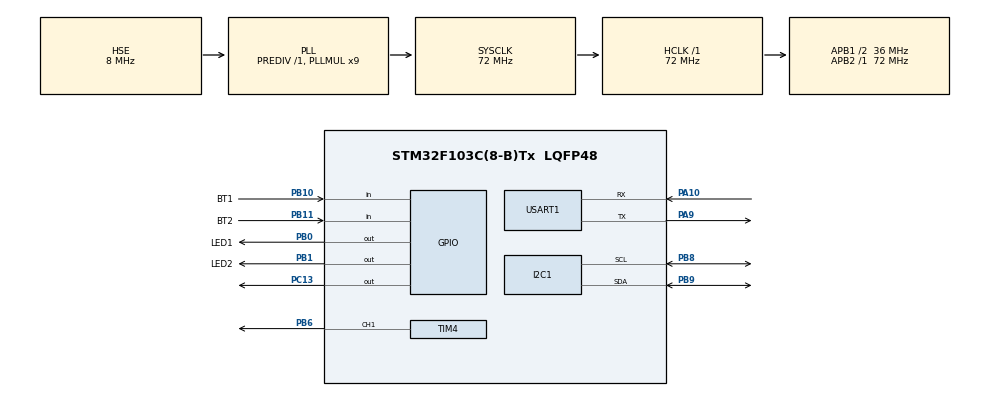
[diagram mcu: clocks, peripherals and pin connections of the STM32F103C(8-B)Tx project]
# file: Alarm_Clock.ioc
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Mcu.Family=STM32F1
Mcu.Name=STM32F103C(8-B)Tx
Mcu.Package=LQFP48
NVIC.PriorityGroup=NVIC_PRIORITYGROUP_4
NVIC.RTC_Alarm_IRQn=true\:0\:0\:false\:false\:true\:true
NVIC.RTC_IRQn=true\:0\:0\:false\:false\:true\:true
PA10.Mode=Asynchronous
PA10.Signal=USART1_RX
PA13.Mode=Serial_Wire
PA13.Signal=SYS_JTMS-SWDIO
PA14.Mode=Serial_Wire
PA14.Signal=SYS_JTCK-SWCLK
PA9.Mode=Asynchronous
PA9.Signal=USART1_TX
PB0.GPIO_Label=LED1
PB0.GPIO_Speed=GPIO_SPEED_FREQ_HIGH
PB0.Signal=GPIO_Output
PB1.GPIO_Label=LED2
PB1.GPIO_Speed=GPIO_SPEED_FREQ_HIGH
PB1.Signal=GPIO_Output
PB10.GPIO_Label=BT1
PB10.GPIO_PuPd=GPIO_PULLDOWN
PB10.Signal=GPIO_Input
PB11.GPIO_Label=BT2
PB11.GPIO_PuPd=GPIO_PULLDOWN
PB11.Signal=GPIO_Input
PB6.Signal=S_TIM4_CH1
PB8.Mode=I2C
PB8.Signal=I2C1_SCL
PB9.Mode=I2C
PB9.Signal=I2C1_SDA
PC13-TAMPER-RTC.Signal=GPIO_Output
PD0-OSC_IN.Mode=HSE-External-Oscillator
PD0-OSC_IN.Signal=RCC_OSC_IN
PD1-OSC_OUT.Mode=HSE-External-Oscillator
PD1-OSC_OUT.Signal=RCC_OSC_OUT
ProjectManager.HeapSize=0x200
ProjectManager.StackSize=0x400
ProjectManager.TargetToolchain=MDK-ARM V5
RCC.AHBFreq_Value=72000000
RCC.APB1CLKDivider=RCC_HCLK_DIV2
RCC.APB1Freq_Value=36000000
RCC.APB1TimFreq_Value=72000000
RCC.APB2Freq_Value=72000000
RCC.APB2TimFreq_Value=72000000
RCC.HCLKFreq_Value=72000000
RCC.PLLMUL=RCC_PLL_MUL9
RCC.PLLSourceVirtual=RCC_PLLSOURCE_HSE
RCC.SYSCLKFreq_VALUE=72000000
RCC.SYSCLKSource=RCC_SYSCLKSOURCE_PLLCLK
RCC.USBFreq_Value=72000000
SH.S_TIM4_CH1.0=TIM4_CH1,PWM Generation1 CH1
TIM4.Channel-PWM\ Generation1\ CH1=TIM_CHANNEL_1
USART1.VirtualMode=VM_ASYNC
VP_RTC_No_RTC_Output.Mode=RTC_OUT_NO
VP_RTC_VS_RTC_Activate.Mode=RTC_Enabled
VP_RTC_VS_RTC_Calendar.Mode=RTC_Calendar
board=ALARM_CLOCK_2

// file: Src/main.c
/**
  ******************************************************************************
  * File Name          : main.c
  * Description        : Main program body
  ******************************************************************************
  ** This notice applies to any and all portions of this file
  * that are not between comment pairs USER CODE BEGIN and
  * USER CODE END. Other portions of this file, whether
  * inserted by the user or by software development tools
  * are owned by their respective copyright owners.
  *
  * COPYRIGHT(c) 2018 STMicroelectronics
  *
  * Redistribution and use in source and binary forms, with or without modification,
  * are permitted provided that the following conditions are met:
  *   1. Redistributions of source code must retain the above copyright notice,
  *      this list of conditions and the following disclaimer.
  *   2. Redistributions in binary form must reproduce the above copyright notice,
  *      this list of conditions and the following disclaimer in the documentation
  *      and/or other materials provided with the distribution.
  *   3. Neither the name of STMicroelectronics nor the names of its contributors
  *      may be used to endorse or promote products derived from this software
  *      without specific prior written permission.
  *
  * THIS SOFTWARE IS PROVIDED BY THE COPYRIGHT HOLDERS AND CONTRIBUTORS "AS IS"
  * AND ANY EXPRESS OR IMPLIED WARRANTIES, INCLUDING, BUT NOT LIMITED TO, THE
  * IMPLIED WARRANTIES OF MERCHANTABILITY AND FITNESS FOR A PARTICULAR PURPOSE ARE
  * DISCLAIMED. IN NO EVENT SHALL THE COPYRIGHT HOLDER OR CONTRIBUTORS BE LIABLE
  * FOR ANY DIRECT, INDIRECT, INCIDENTAL, SPECIAL, EXEMPLARY, OR CONSEQUENTIAL
  * DAMAGES (INCLUDING, BUT NOT LIMITED TO, PROCUREMENT OF SUBSTITUTE GOODS OR
  * SERVICES; LOSS OF USE, DATA, OR PROFITS; OR BUSINESS INTERRUPTION) HOWEVER
  * CAUSED AND ON ANY THEORY OF LIABILITY, WHETHER IN CONTRACT, STRICT LIABILITY,
  * OR TORT (INCLUDING NEGLIGENCE OR OTHERWISE) ARISING IN ANY WAY OUT OF THE USE
  * OF THIS SOFTWARE, EVEN IF ADVISED OF THE POSSIBILITY OF SUCH DAMAGE.
  *
  ******************************************************************************
  */

#include "main.h"
#include "stm32f1xx_hal.h"

/* USER CODE BEGIN Includes */
#include <stdio.h>
#include <ctype.h>
#include <stdlib.h>
#include <stdbool.h>

#include "queue.h"
#include "keypad.h"
#include "ssd1306.h"
/* USER CODE END Includes */

I2C_HandleTypeDef hi2c1;

RTC_HandleTypeDef hrtc;

TIM_HandleTypeDef htim4;

UART_HandleTypeDef huart1;

/* USER CODE BEGIN PV */
/* Private variables ---------------------------------------------------------*/
RTC_TimeTypeDef ALARM_TIME;

bool Alarm_State = false;
bool Setting_Session = false;
bool Alarm_Session = false;
bool Time_Session = false;

uint8_t password_1 = 0;
uint8_t password_2 = 0;
/* USER CODE END PV */

void SystemClock_Config(void);
static void MX_GPIO_Init(void);
static void MX_I2C1_Init(void);
static void MX_USART1_UART_Init(void);
static void MX_RTC_Init(void);
static void MX_TIM4_Init(void);

void HAL_TIM_MspPostInit(TIM_HandleTypeDef *htim);

/* USER CODE BEGIN PFP */
/* Private function prototypes -----------------------------------------------*/

/* USER CODE END PFP */

/* USER CODE BEGIN 0 */
void GPIO_SetPin(GPIO_TypeDef *GPIOx, uint16_t GPIO_Pin){
	HAL_GPIO_WritePin(GPIOx, GPIO_Pin, GPIO_PIN_SET);
}

void GPIO_ResetPin(GPIO_TypeDef *GPIOx, uint16_t GPIO_Pin){
	HAL_GPIO_WritePin(GPIOx, GPIO_Pin, GPIO_PIN_RESET);
}

void Set_Number(uint8_t num, uint8_t dig){
	switch(dig){
		case 1:
			SSD1306_SetCursor(0, 24);
			SSD1306_WriteChar(num + '0', Font_16x32, White);

			SSD1306_UpdateScreen();
			break;
		case 2:
			SSD1306_SetCursor(16, 24);
			SSD1306_WriteChar(num + '0', Font_16x32, White);

			SSD1306_UpdateScreen();
			break;
		case 3:
			SSD1306_SetCursor(48, 24);
			SSD1306_WriteChar(num + '0', Font_16x32, White);

			SSD1306_UpdateScreen();
			break;
		case 4:
			SSD1306_SetCursor(64, 24);
			SSD1306_WriteChar(num + '0', Font_16x32, White);

			SSD1306_UpdateScreen();
			break;
	}
}

void Set_Minutes(uint8_t min){
	uint8_t quotient = min / 10;
	uint8_t remain = min % 10;

	Set_Number(quotient, 3);
	HAL_Delay(1);
	Set_Number(remain, 4);
	HAL_Delay(1);
}

void Set_Hours(uint8_t hou){
	uint8_t quotient = hou / 10;
	uint8_t remain = hou % 10;

	Set_Number(quotient, 1);
	HAL_Delay(1);
	Set_Number(remain, 2);
	HAL_Delay(1);
}

void Set_Colon(void){
	SSD1306_SetCursor(32, 24);
	SSD1306_WriteChar(':', Font_16x32, White);

	SSD1306_UpdateScreen();
}

static void RTC_AlarmConfig(uint8_t Hours, uint8_t Minutes)
{
	RTC_AlarmTypeDef salarmstructure;

  /*##-3- Configure the RTC Alarm peripheral #################################*/
  /* Set Alarm to 02:20:30
     RTC Alarm Generation: Alarm on Hours, Minutes and Seconds */
	salarmstructure.Alarm = RTC_ALARM_A;
	salarmstructure.AlarmTime.Hours = Hours;
	salarmstructure.AlarmTime.Minutes = Minutes;
	salarmstructure.AlarmTime.Seconds = 0;

	if(HAL_RTC_SetAlarm_IT(&hrtc,&salarmstructure,RTC_FORMAT_BIN) != HAL_OK)
	{
		/* Initialization Error */
		_Error_Handler(__FILE__, __LINE__);
	}
}

/**
  * @brief  Alarm callback
  * @param  hrtc : RTC handle
  * @retval None
  */
void HAL_RTC_AlarmAEventCallback(RTC_HandleTypeDef *hrtc)
{
  /* Turn LED_GREEN on: Alarm generation */
  //BSP_LED_On(LED_GREEN);
	RTC_TimeTypeDef now_time;

	Alarm_State = true;

	GPIO_SetPin(GPIOC, GPIO_PIN_13);											// Alarm LED ON

	int random = rand() % 10000;

	password_1 = random / 100;
	password_2 = random % 100;

	/* Get the RTC current Time */
	HAL_RTC_GetTime(hrtc, &now_time, RTC_FORMAT_BIN);

	ALARM_TIME.Hours = now_time.Hours;
	ALARM_TIME.Minutes = now_time.Minutes;
}

int fputc(int ch, FILE *f){
  uint8_t temp[1] = {ch};
  HAL_UART_Transmit(&huart1, temp, 1, 2);
  return ch;
}
/* USER CODE END 0 */

int main(void)
{

  /* USER CODE BEGIN 1 */
	RTC_TimeTypeDef time_instructure;
  /* USER CODE END 1 */

  /* MCU Configuration----------------------------------------------------------*/

  /* Reset of all peripherals, Initializes the Flash interface and the Systick. */
  HAL_Init();

  /* Configure the system clock */
  SystemClock_Config();

  /* Initialize all configured peripherals */
  MX_GPIO_Init();
  MX_I2C1_Init();
  MX_USART1_UART_Init();
  MX_RTC_Init();
  MX_TIM4_Init();

  /* USER CODE BEGIN 2 */
	Keypad_Init();																								// Init Keypad

	SSD1306_Init();																								// Init SSD1306

	SSD1306_Fill(Black);																					// Fill Background of Display by Black
	SSD1306_UpdateScreen();																				// Refresh Display

	init_queue();																									// Init Queue

	uint8_t old_Seconds = 0;

	uint8_t set_hour = 0;																					// Hour Parameter
	uint8_t set_minu = 0;																					// Minute Parameter
  /* USER CODE END 2 */

  /* Infinite loop */
  /* USER CODE BEGIN WHILE */
  while (1)
  {
	  Set_Colon();																								// Display Colon

		/* Get the RTC current Time */
		HAL_RTC_GetTime(&hrtc, &time_instructure, RTC_FORMAT_BIN);

		// 1 Second
		if(old_Seconds != time_instructure.Seconds){
			old_Seconds = time_instructure.Seconds;
			printf("%02d:%02d:%02d\r\n", time_instructure.Hours, time_instructure.Minutes, old_Seconds);
		}

		// Setting Session Button Input Pull Down
		if(HAL_GPIO_ReadPin(BT1_GPIO_Port, BT1_Pin) && !HAL_GPIO_ReadPin(BT2_GPIO_Port, BT2_Pin)){
			while(HAL_GPIO_ReadPin(BT1_GPIO_Port, BT1_Pin) && !HAL_GPIO_ReadPin(BT2_GPIO_Port, BT2_Pin));					// Release Button1

			if(Setting_Session == false){															// If Current State wasn't Setting Session
				printf("Set Button 1\r\n");

				SSD1306_SetCursor(32, 0);
				SSD1306_WriteString("Setting", Font_7x10, White);				// Display "Setting"

				SSD1306_UpdateScreen();																	// Refresh Display

				GPIO_SetPin(LED1_GPIO_Port, LED1_Pin);	 								// LED1 ON
				GPIO_ResetPin(LED2_GPIO_Port, LED2_Pin);								// LED2 OFF

				Setting_Session = true;																	// Enter Setting Session
				Alarm_Session = false;																	// Not a Alarm Session
			}

			else if(Setting_Session == true){													// If Current State was Setting Session
				printf("Set Button 0\r\n");

				SSD1306_SetCursor(32, 0);
				SSD1306_WriteString("       ", Font_7x10, White);				// Clear Diplay Line

				SSD1306_UpdateScreen();																	// Refresh Display

				GPIO_ResetPin(LED1_GPIO_Port, LED1_Pin);								// LED1 OFF
				GPIO_ResetPin(LED2_GPIO_Port, LED2_Pin);								// LED2 OFF

				Setting_Session = false;																// Leave Setting Session
				Alarm_Session = false;																	// Not a Alarm Session
			}
		}

		// Alarm Session Button Input Pull Down
		if(!HAL_GPIO_ReadPin(BT1_GPIO_Port, BT1_Pin) && HAL_GPIO_ReadPin(BT2_GPIO_Port, BT2_Pin)){
			while(!HAL_GPIO_ReadPin(BT1_GPIO_Port, BT1_Pin) && HAL_GPIO_ReadPin(BT2_GPIO_Port, BT2_Pin));					// Release Button2

			if(Alarm_Session == false){																// If Current State wasn't Alarm Session
				printf("Set Button 1\r\n");

				SSD1306_SetCursor(32, 0);
				SSD1306_WriteString("Password", Font_7x10, White);			// Display "Password"

				SSD1306_UpdateScreen();																	// Refresh Display

				GPIO_ResetPin(LED1_GPIO_Port, LED1_Pin);								// LED1 OFF
				GPIO_SetPin(LED2_GPIO_Port, LED2_Pin);									// LED2 ON

				Alarm_Session = true;																		// Enter Alarm Session
				Setting_Session = false;																// Not a Setting Session
			}

			else if(Alarm_Session == true){														// If Current State was Alarm Session
				printf("Set Button 0\r\n");

				GPIO_ResetPin(LED1_GPIO_Port, LED1_Pin);								// LED1 OFF
				GPIO_SetPin(LED2_GPIO_Port, LED2_Pin);									// LED2 ON

				SSD1306_SetCursor(32, 0);
				SSD1306_WriteString("        ", Font_7x10, White);			// Clear Diplay Line

				SSD1306_UpdateScreen();																	// Refresh Display

				Alarm_Session = false;																	// Leave Alarm Session
				Setting_Session = false;																// Not a Setting Session
			}
		}

		//
		if(HAL_GPIO_ReadPin(BT1_GPIO_Port, BT1_Pin) && HAL_GPIO_ReadPin(BT2_GPIO_Port, BT2_Pin)){
			while(HAL_GPIO_ReadPin(BT1_GPIO_Port, BT1_Pin) && HAL_GPIO_ReadPin(BT2_GPIO_Port, BT2_Pin));

			if(Time_Session == false){
				SSD1306_SetCursor(32, 0);
				SSD1306_WriteString("Time Setting", Font_7x10, White);	// Display "Time Setting"

				SSD1306_UpdateScreen();																	// Refresh Display

				// Get Total Data What Inside Of Queue And Put '0'
				for(int i = 0; i < 4; i ++){
					get();																								// Pop
					put('0');																							// Push
				}

				Time_Session = true;																		//
				Alarm_Session = false;																	// Leave Alarm Session
				Setting_Session = false;																// Not a Setting Session
			}
			else if(Time_Session == true){
				SSD1306_SetCursor(32, 0);
				SSD1306_WriteString("            ", Font_7x10, White);			// Clear Diplay Line

				SSD1306_UpdateScreen();																	// Refresh Display

				Time_Session = false;																		//
				Alarm_Session = false;																	// Leave Alarm Session
				Setting_Session = false;																// Not a Setting Session
			}
		}

		// Common Clock State
		if(!Setting_Session && !Alarm_State){
			//printf("Set Time\r\n");
			Set_Minutes(time_instructure.Minutes);										// Set Present Minutes
			Set_Hours(time_instructure.Hours);												// Set Present Hours
		}

		// Alarm Session. Will Display Password
		else if(Alarm_State){
			SSD1306_SetCursor(32, 0);
			SSD1306_WriteString("Alarm", Font_7x10, White);						// Display "Alarm"

			SSD1306_UpdateScreen();																		// Refresh Display

			Set_Hours(password_1);																		// Set Password_1
			Set_Minutes(password_2);																	// Set Password_2
		}

		// If Setting Session
		if(Setting_Session && !Alarm_State){
			// Setting Session
			//printf("Setting Session IN\r\n");

			// Display Number
			Set_Minutes(set_minu);																		// Set Present Minutes
			Set_Hours(set_hour);																			// Set Present Hours

			// Read Input By Keypad
			char Key = GetKey();

			if(isdigit(Key)){																					// If Input Number by Keypad
					get();																								// Pop
					put(Key);																							// Push

					print_queue();																				// Print Queue
			}

			// Reset Number to 00:00
			if(Key == '*'){

				// Get Total Data What Inside Of Queue And Put '0'
				for(int i = 0; i < 4; i ++){
					get();																								// Pop
					put('0');																							// Push
				}

				// Reset Setting Value
				set_minu = 0;
				set_hour = 0;

				print_queue();																					// Print Queue
			}

			// Set Alarm Time And Come Back To Clock
			if(Key == '#'){
				// Setting Alarm
				RTC_AlarmConfig(set_hour, set_minu);

				printf("Alarm A Set in %02d:%02d\r\n", set_hour, set_minu);

				// Get Total Data What Inside Of Queue And Put '0'
				for(int i = 0; i < 4; i ++){
					get();																								// Pop
					put('0');																							// Push
				}

				// Reset Setting Value
				set_minu = 0;
				set_hour = 0;

				print_queue();																					// Print Queue

				GPIO_ResetPin(LED1_GPIO_Port, LED1_Pin);								// LED1 OFF
				GPIO_ResetPin(LED2_GPIO_Port, LED2_Pin);								// LED2 OFF

				SSD1306_SetCursor(32, 0);
				SSD1306_WriteString("        ", Font_7x10, White);			// Clear Diplay Line

				SSD1306_UpdateScreen();																	// Refresh Display

				Setting_Session = false;																// Leave Setting Session
			}
			// Change Display Number
			else {
				// ex) Queue [ 0 | 5 | 3 | 0 ] means 05:30 => set_hour = 05, set_minu = 30
				set_hour = ((get_queue()[0] - '0') * 10) + (get_queue()[1] - '0');
				set_minu = ((get_queue()[2] - '0') * 10) + (get_queue()[3] - '0');
			}
		}

		// When Alarm Callback Event On And Enter the Alarm Session
		if(Alarm_Session && Alarm_State){
			// Alarm Session
			//printf("Alarm Session IN\r\n");

			// Read Input By Keypad
			char Key = GetKey();

			if(isdigit(Key)){																					// If Input Number by Keypad
					get();																								// Pop
					put(Key);																							// Push

					print_queue();																				// Print Queue
			}

			// If Password Correct
			if(password_1 == ( ((get_queue()[0] - '0') * 10) + (get_queue()[1] - '0') )
				&& password_2 == ( ((get_queue()[2] - '0') * 10) + (get_queue()[3] - '0') )){
				// Alarm Off : All Led Off
				GPIO_ResetPin(GPIOC, GPIO_PIN_13);											// Alarm LED OFF

				// Get Total Data What Inside Of Queue And Put '0'
				for(int i = 0; i < 4; i ++){
					get();																								// Pop
					put('0');																							// Push
				}

				print_queue();																					// Print Queue

				SSD1306_SetCursor(32, 0);
				SSD1306_WriteString("        ", Font_7x10, White);			// Clear Diplay Line

				SSD1306_UpdateScreen();																	// Refresh Display

				Alarm_State = false;																		// Alarm Off
				Alarm_Session = false;																	// Leave Alarm Session
			}
		}

		if(Time_Session){
			char Key = GetKey();

			if(isdigit(Key)){																					// If Input Number by Keypad
					get();																								// Pop
					put(Key);																							// Push

					print_queue();																				// Print Queue
			}

			// Reset Number to 00:00
			if(Key == '*'){

				// Get Total Data What Inside Of Queue And Put '0'
				for(int i = 0; i < 4; i ++){
					get();																								// Pop
					put('0');																							// Push
				}

				// Reset Setting Value
				set_minu = 0;
				set_hour = 0;

				print_queue();																					// Print Queue
			}

			// Set Alarm Time And Come Back To Clock
			if(Key == '#'){
				// Setting Time
				RTC_TimeTypeDef set_time_instructure;

				time_instructure.Hours = set_hour;
				time_instructure.Minutes = set_minu;
				time_instructure.Seconds = 0;

				HAL_RTC_SetTime(&hrtc, &time_instructure, RTC_FORMAT_BIN);

				printf("Time Set in %02d:%02d\r\n", set_hour, set_minu);

				// Get Total Data What Inside Of Queue And Put '0'
				for(int i = 0; i < 4; i ++){
					get();																								// Pop
					put('0');																							// Push
				}

				// Reset Setting Value
				set_minu = 0;
				set_hour = 0;

				print_queue();																					// Print Queue

				GPIO_ResetPin(LED1_GPIO_Port, LED1_Pin);								// LED1 OFF
				GPIO_ResetPin(LED2_GPIO_Port, LED2_Pin);								// LED2 OFF

				SSD1306_SetCursor(32, 0);
				SSD1306_WriteString("            ", Font_7x10, White);	// Clear Diplay Line

				SSD1306_UpdateScreen();																	// Refresh Display

				Time_Session = false;																// Leave Setting Session
			}
			// Change Display Number
			else {
				// ex) Queue [ 0 | 5 | 3 | 0 ] means 05:30 => set_hour = 05, set_minu = 30
				set_hour = ((get_queue()[0] - '0') * 10) + (get_queue()[1] - '0');
				set_minu = ((get_queue()[2] - '0') * 10) + (get_queue()[3] - '0');
			}
		}
  /* USER CODE END WHILE */

  }

}

/** System Clock Configuration
*/
void SystemClock_Config(void)
{

  RCC_OscInitTypeDef RCC_OscInitStruct;
  RCC_ClkInitTypeDef RCC_ClkInitStruct;
  RCC_PeriphCLKInitTypeDef PeriphClkInit;

    /**Initializes the CPU, AHB and APB busses clocks
    */
  RCC_OscInitStruct.OscillatorType = RCC_OSCILLATORTYPE_LSI|RCC_OSCILLATORTYPE_HSE;
  RCC_OscInitStruct.HSEState = RCC_HSE_ON;
  RCC_OscInitStruct.HSEPredivValue = RCC_HSE_PREDIV_DIV1;
  RCC_OscInitStruct.HSIState = RCC_HSI_ON;
  RCC_OscInitStruct.LSIState = RCC_LSI_ON;
  RCC_OscInitStruct.PLL.PLLState = RCC_PLL_ON;
  RCC_OscInitStruct.PLL.PLLSource = RCC_PLLSOURCE_HSE;
  RCC_OscInitStruct.PLL.PLLMUL = RCC_PLL_MUL9;
  if (HAL_RCC_OscConfig(&RCC_OscInitStruct) != HAL_OK)
  {
    _Error_Handler(__FILE__, __LINE__);
  }

    /**Initializes the CPU, AHB and APB busses clocks
    */
  RCC_ClkInitStruct.ClockType = RCC_CLOCKTYPE_HCLK|RCC_CLOCKTYPE_SYSCLK
                              |RCC_CLOCKTYPE_PCLK1|RCC_CLOCKTYPE_PCLK2;
  RCC_ClkInitStruct.SYSCLKSource = RCC_SYSCLKSOURCE_PLLCLK;
  RCC_ClkInitStruct.AHBCLKDivider = RCC_SYSCLK_DIV1;
  RCC_ClkInitStruct.APB1CLKDivider = RCC_HCLK_DIV2;
  RCC_ClkInitStruct.APB2CLKDivider = RCC_HCLK_DIV1;

  if (HAL_RCC_ClockConfig(&RCC_ClkInitStruct, FLASH_LATENCY_2) != HAL_OK)
  {
    _Error_Handler(__FILE__, __LINE__);
  }

  PeriphClkInit.PeriphClockSelection = RCC_PERIPHCLK_RTC;
  PeriphClkInit.RTCClockSelection = RCC_RTCCLKSOURCE_LSI;
  if (HAL_RCCEx_PeriphCLKConfig(&PeriphClkInit) != HAL_OK)
  {
    _Error_Handler(__FILE__, __LINE__);
  }

    /**Configure the Systick interrupt time
    */
  HAL_SYSTICK_Config(HAL_RCC_GetHCLKFreq()/1000);

    /**Configure the Systick
    */
  HAL_SYSTICK_CLKSourceConfig(SYSTICK_CLKSOURCE_HCLK);

  /* SysTick_IRQn interrupt configuration */
  HAL_NVIC_SetPriority(SysTick_IRQn, 0, 0);
}

/* I2C1 init function */
static void MX_I2C1_Init(void)
{

  hi2c1.Instance = I2C1;
  hi2c1.Init.ClockSpeed = 100000;
  hi2c1.Init.DutyCycle = I2C_DUTYCYCLE_2;
  hi2c1.Init.OwnAddress1 = 0;
  hi2c1.Init.AddressingMode = I2C_ADDRESSINGMODE_7BIT;
  hi2c1.Init.DualAddressMode = I2C_DUALADDRESS_DISABLE;
  hi2c1.Init.OwnAddress2 = 0;
  hi2c1.Init.GeneralCallMode = I2C_GENERALCALL_DISABLE;
  hi2c1.Init.NoStretchMode = I2C_NOSTRETCH_DISABLE;
  if (HAL_I2C_Init(&hi2c1) != HAL_OK)
  {
    _Error_Handler(__FILE__, __LINE__);
  }

}

/* RTC init function */
static void MX_RTC_Init(void)
{

  RTC_TimeTypeDef sTime;
  RTC_DateTypeDef DateToUpdate;

    /**Initialize RTC Only
    */
  hrtc.Instance = RTC;
  hrtc.Init.AsynchPrediv = RTC_AUTO_1_SECOND;
  hrtc.Init.OutPut = RTC_OUTPUTSOURCE_NONE;
  if (HAL_RTC_Init(&hrtc) != HAL_OK)
  {
    _Error_Handler(__FILE__, __LINE__);
  }

    /**Initialize RTC and set the Time and Date
    */
  if(HAL_RTCEx_BKUPRead(&hrtc, RTC_BKP_DR1) != 0x32F2){
  sTime.Hours = 0x1;
  sTime.Minutes = 0x0;
  sTime.Seconds = 0x0;

  if (HAL_RTC_SetTime(&hrtc, &sTime, RTC_FORMAT_BCD) != HAL_OK)
  {
    _Error_Handler(__FILE__, __LINE__);
  }

  DateToUpdate.WeekDay = RTC_WEEKDAY_MONDAY;
  DateToUpdate.Month = RTC_MONTH_JANUARY;
  DateToUpdate.Date = 0x1;
  DateToUpdate.Year = 0x0;

  if (HAL_RTC_SetDate(&hrtc, &DateToUpdate, RTC_FORMAT_BCD) != HAL_OK)
  {
    _Error_Handler(__FILE__, __LINE__);
  }

    HAL_RTCEx_BKUPWrite(&hrtc,RTC_BKP_DR1,0x32F2);
  }

}

/* TIM4 init function */
static void MX_TIM4_Init(void)
{

  TIM_MasterConfigTypeDef sMasterConfig;
  TIM_OC_InitTypeDef sConfigOC;

  htim4.Instance = TIM4;
  htim4.Init.Prescaler = 0;
  htim4.Init.CounterMode = TIM_COUNTERMODE_UP;
  htim4.Init.Period = 0;
  htim4.Init.ClockDivision = TIM_CLOCKDIVISION_DIV1;
  htim4.Init.AutoReloadPreload = TIM_AUTORELOAD_PRELOAD_DISABLE;
  if (HAL_TIM_PWM_Init(&htim4) != HAL_OK)
  {
    _Error_Handler(__FILE__, __LINE__);
  }

  sMasterConfig.MasterOutputTrigger = TIM_TRGO_RESET;
  sMasterConfig.MasterSlaveMode = TIM_MASTERSLAVEMODE_DISABLE;
  if (HAL_TIMEx_MasterConfigSynchronization(&htim4, &sMasterConfig) != HAL_OK)
  {
    _Error_Handler(__FILE__, __LINE__);
  }

  sConfigOC.OCMode = TIM_OCMODE_PWM1;
  sConfigOC.Pulse = 0;
  sConfigOC.OCPolarity = TIM_OCPOLARITY_HIGH;
  sConfigOC.OCFastMode = TIM_OCFAST_DISABLE;
  if (HAL_TIM_PWM_ConfigChannel(&htim4, &sConfigOC, TIM_CHANNEL_1) != HAL_OK)
  {
    _Error_Handler(__FILE__, __LINE__);
  }

  HAL_TIM_MspPostInit(&htim4);

}

/* USART1 init function */
static void MX_USART1_UART_Init(void)
{

  huart1.Instance = USART1;
  huart1.Init.BaudRate = 115200;
  huart1.Init.WordLength = UART_WORDLENGTH_8B;
  huart1.Init.StopBits = UART_STOPBITS_1;
  huart1.Init.Parity = UART_PARITY_NONE;
  huart1.Init.Mode = UART_MODE_TX_RX;
  huart1.Init.HwFlowCtl = UART_HWCONTROL_NONE;
  huart1.Init.OverSampling = UART_OVERSAMPLING_16;
  if (HAL_UART_Init(&huart1) != HAL_OK)
  {
    _Error_Handler(__FILE__, __LINE__);
  }

}

/** Configure pins as
        * Analog
        * Input
        * Output
        * EVENT_OUT
        * EXTI
*/
static void MX_GPIO_Init(void)
{

  GPIO_InitTypeDef GPIO_InitStruct;

  /* GPIO Ports Clock Enable */
  __HAL_RCC_GPIOC_CLK_ENABLE();
  __HAL_RCC_GPIOD_CLK_ENABLE();
  __HAL_RCC_GPIOB_CLK_ENABLE();
  __HAL_RCC_GPIOA_CLK_ENABLE();

  /*Configure GPIO pin Output Level */
  HAL_GPIO_WritePin(GPIOC, GPIO_PIN_13, GPIO_PIN_RESET);

  /*Configure GPIO pin Output Level */
  HAL_GPIO_WritePin(GPIOB, LED1_Pin|LED2_Pin, GPIO_PIN_RESET);

  /*Configure GPIO pin : PC13 */
  GPIO_InitStruct.Pin = GPIO_PIN_13;
  GPIO_InitStruct.Mode = GPIO_MODE_OUTPUT_PP;
  GPIO_InitStruct.Speed = GPIO_SPEED_FREQ_LOW;
  HAL_GPIO_Init(GPIOC, &GPIO_InitStruct);

  /*Configure GPIO pins : LED1_Pin LED2_Pin */
  GPIO_InitStruct.Pin = LED1_Pin|LED2_Pin;
  GPIO_InitStruct.Mode = GPIO_MODE_OUTPUT_PP;
  GPIO_InitStruct.Speed = GPIO_SPEED_FREQ_HIGH;
  HAL_GPIO_Init(GPIOB, &GPIO_InitStruct);

  /*Configure GPIO pins : BT1_Pin BT2_Pin */
  GPIO_InitStruct.Pin = BT1_Pin|BT2_Pin;
  GPIO_InitStruct.Mode = GPIO_MODE_INPUT;
  GPIO_InitStruct.Pull = GPIO_PULLDOWN;
  HAL_GPIO_Init(GPIOB, &GPIO_InitStruct);

}

void _Error_Handler(char * file, int line)
{
  while(1)
  {
  }
}

/************************ (C) COPYRIGHT STMicroelectronics *****END OF FILE****/
